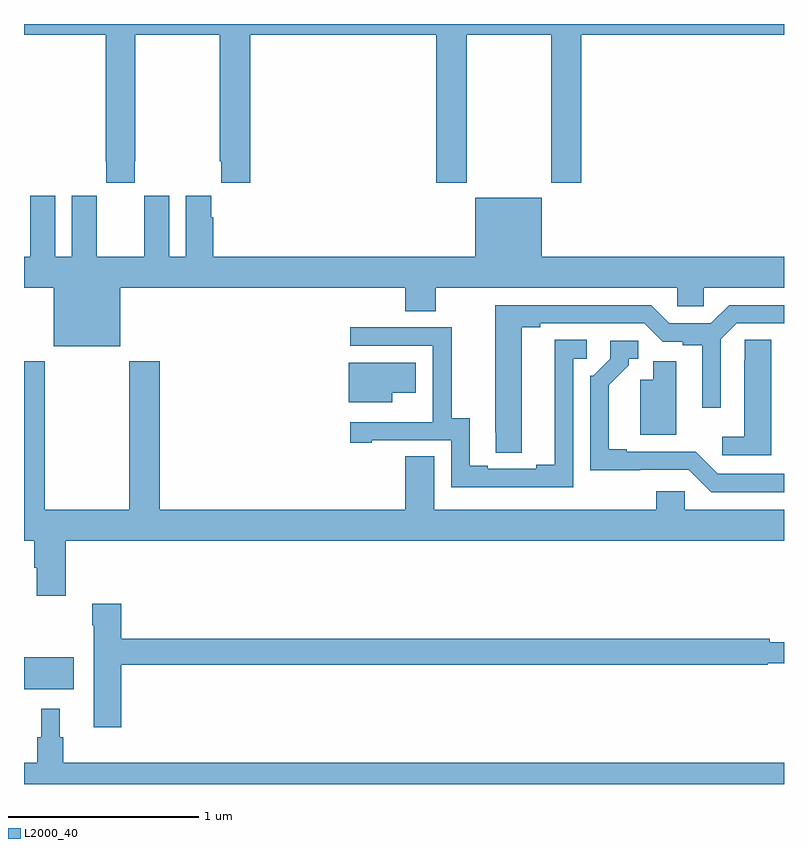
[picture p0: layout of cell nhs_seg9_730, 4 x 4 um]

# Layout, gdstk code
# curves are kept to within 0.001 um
import gdstk
lib = gdstk.Library(unit=1e-6, precision=1e-09)
def R(c, l, rs):  # rectangles x0, y0, x1, y1
    for r in rs: c.add(gdstk.rectangle(r[:2], r[2:], *l))
def P(c, l, *ps):  # polygons
    for p in ps: c.add(gdstk.Polygon(p, *l))
L2000_40 = (2000, 40)

nhs_seg9_730 = lib.new_cell('nhs_seg9_730')
R(nhs_seg9_730, L2000_40, [(149,1169,149.263,1169.166)])
P(nhs_seg9_730, L2000_40, [(149.583,1171.777),(149.586,1171.777),(149.586,1172.444),(150.031,1172.444),(150.031,1171.777),(150.037,1171.777),(150.037,1171.665),(150.191,1171.665),(150.191,1172.444),(151.169,1172.444),(151.169,1171.665),(151.329,1171.665),(151.329,1172.444),(151.774,1172.444),(151.774,1171.665),(151.934,1171.665),(151.934,1172.444),(153,1172.444),(153,1172.5),(149,1172.5),(149,1172.444),(149.431,1172.444),(149.431,1171.777),(149.433,1171.777),(149.433,1171.665),(149.583,1171.665)],
  [(149.506,1171.112),(151.007,1171.112),(151.007,1170.988),(151.167,1170.988),(151.167,1171.112),(152.439,1171.112),(152.439,1171.014),(152.577,1171.014),(152.577,1171.112),(153,1171.112),(153,1171.276),(151.726,1171.276),(151.726,1171.585),(151.376,1171.585),(151.376,1171.276),(149.996,1171.276),(149.996,1171.484),(149.986,1171.484),(149.986,1171.597),(149.852,1171.597),(149.852,1171.276),(149.764,1171.276),(149.764,1171.597),(149.634,1171.597),(149.634,1171.484),(149.633,1171.484),(149.633,1171.276),(149.383,1171.276),(149.383,1171.484),(149.382,1171.484),(149.382,1171.597),(149.252,1171.597),(149.252,1171.276),(149.164,1171.276),(149.164,1171.597),(149.034,1171.597),(149.034,1171.484),(149.033,1171.484),(149.033,1171.276),(149,1171.276),(149,1171.112),(149.156,1171.112),(149.156,1170.803),(149.506,1170.803)],
  [(151.621,1170.904),(151.717,1170.904),(151.717,1170.924),(152.265,1170.924),(152.361,1170.828),(152.466,1170.828),(152.466,1170.808),(152.57,1170.808),(152.57,1170.48),(152.667,1170.48),(152.667,1170.84),(152.751,1170.924),(153,1170.924),(153,1171.02),(152.711,1171.02),(152.615,1170.924),(152.397,1170.924),(152.301,1171.02),(151.481,1171.02),(151.482,1170.244),(151.621,1170.244)],
  [(151.89,1170.738),(151.963,1170.738),(151.963,1170.839),(151.793,1170.839),(151.793,1170.179),(151.697,1170.179),(151.697,1170.159),(151.441,1170.159),(151.441,1170.174),(151.345,1170.174),(151.345,1170.425),(151.251,1170.425),(151.251,1170.903),(150.717,1170.903),(150.717,1170.807),(151.152,1170.807),(151.152,1170.406),(151.151,1170.406),(151.151,1170.405),(150.717,1170.405),(150.717,1170.297),(150.829,1170.297),(150.829,1170.309),(151.248,1170.309),(151.248,1170.063),(151.89,1170.063)],
  [(152.932,1170.839),(152.793,1170.839),(152.793,1170.731),(152.792,1170.731),(152.792,1170.328),(152.676,1170.328),(152.676,1170.231),(152.932,1170.231)],
  [(153,1170.132),(152.652,1170.132),(152.535,1170.249),(152.173,1170.249),(152.173,1170.262),(152.077,1170.262),(152.077,1170.598),(152.182,1170.703),(152.182,1170.738),(152.232,1170.738),(152.232,1170.834),(152.085,1170.834),(152.085,1170.738),(151.995,1170.648),(151.98,1170.648),(151.98,1170.152),(152.499,1170.153),(152.616,1170.036),(153,1170.036)],
  [(152.434,1170.726),(152.312,1170.726),(152.312,1170.628),(152.243,1170.628),(152.243,1170.338),(152.434,1170.338)],
  [(149.219,1169.78),(153,1169.78),(153,1169.944),(152.478,1169.944),(152.478,1170.042),(152.327,1170.042),(152.327,1169.944),(151.159,1169.944),(151.159,1170.224),(151.007,1170.224),(151.007,1169.944),(149.714,1169.944),(149.714,1170.724),(149.554,1170.724),(149.554,1169.944),(149.109,1169.944),(149.109,1170.724),(149,1170.724),(149,1169.78),(149.054,1169.78),(149.054,1169.638),(149.066,1169.638),(149.066,1169.49),(149.219,1169.49)],
  [(150.937,1170.56),(151.063,1170.56),(151.063,1170.718),(150.71,1170.718),(150.71,1170.509),(150.937,1170.509)],
  [(149.513,1169.128),(152.914,1169.128),(152.914,1169.136),(153,1169.136),(153,1169.245),(152.924,1169.245),(152.924,1169.264),(149.513,1169.264),(149.513,1169.449),(149.359,1169.449),(149.359,1169.336),(149.366,1169.336),(149.366,1168.8),(149.513,1168.8)],
  [(153,1168.612),(149.207,1168.612),(149.207,1168.746),(149.188,1168.746),(149.188,1168.897),(149.09,1168.897),(149.09,1168.746),(149.071,1168.746),(149.071,1168.612),(149,1168.612),(149,1168.5),(153,1168.5)])

lib.write_gds('nhs_seg9_730.gds')
